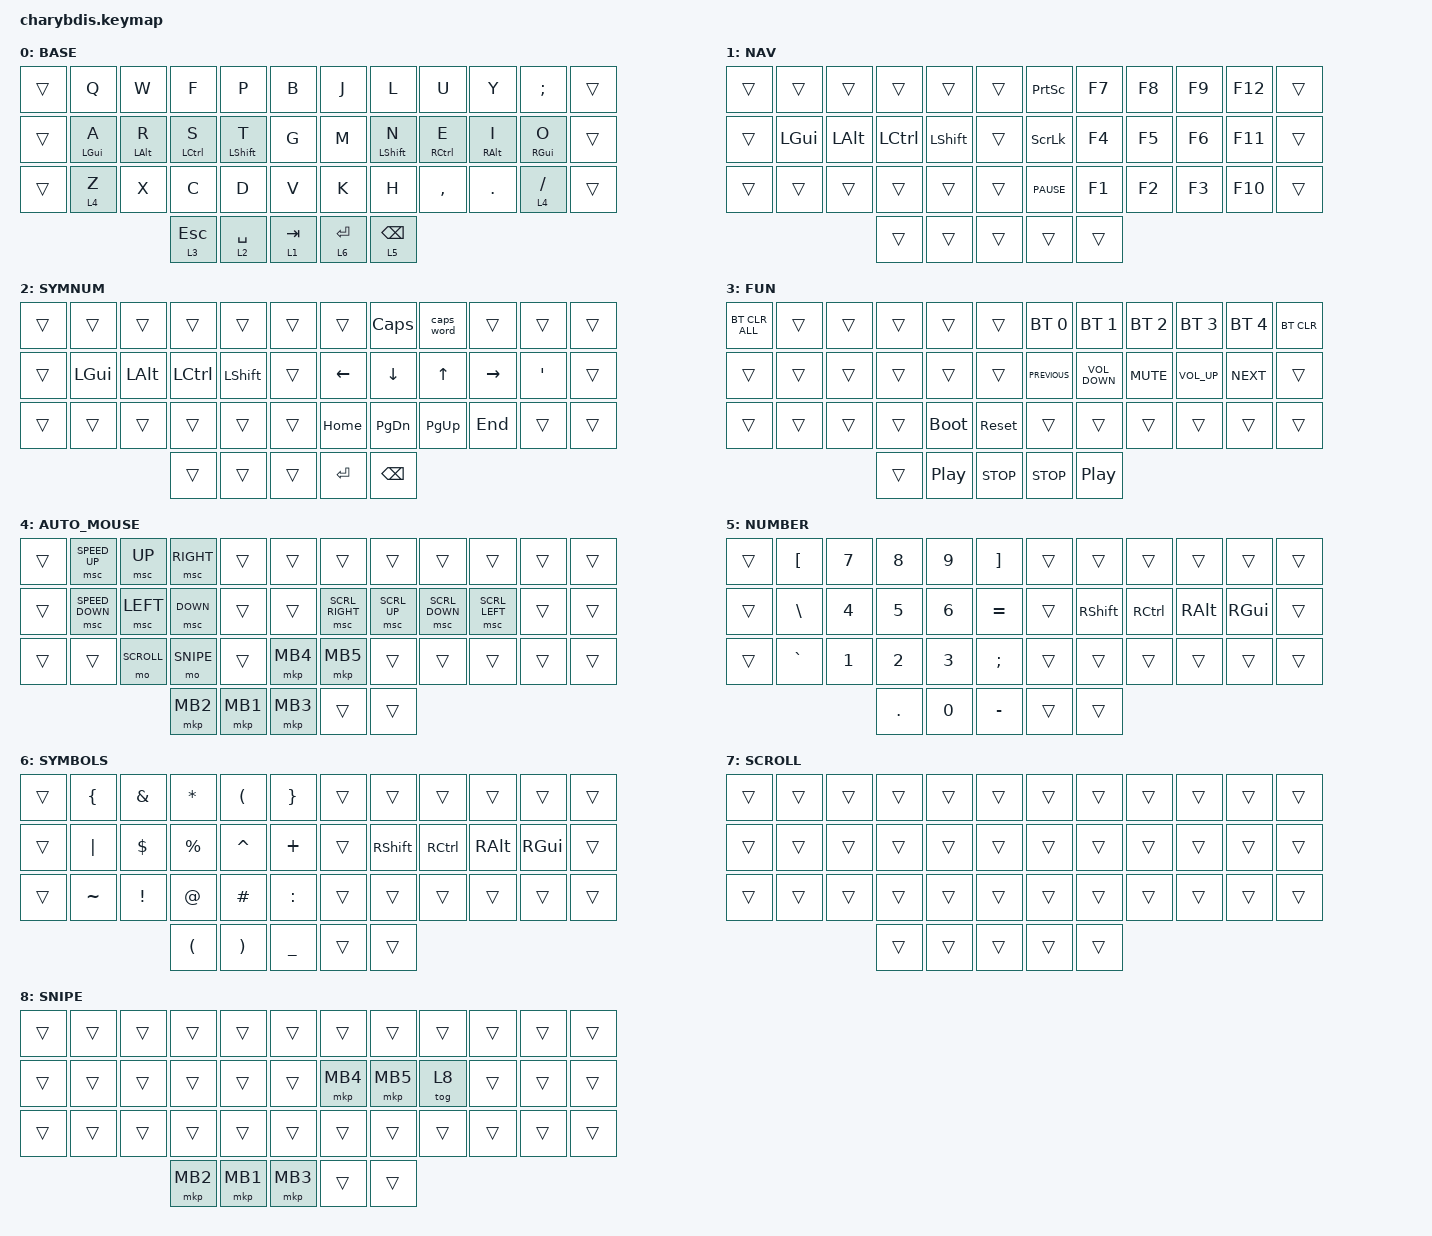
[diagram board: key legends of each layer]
#include <behaviors/mouse_keys.dtsi>
#include <behaviors.dtsi>
#include <dt-bindings/zmk/bt.h>
#include <dt-bindings/zmk/keys.h>
#include <dt-bindings/zmk/pointing.h>


#define U_TAPPING_TERM 175

#define BASE 0
#define NAV 1
#define SYMNUM 2
#define FUN 3
#define AUTO_MOUSE 4
#define NUMBER 5
#define SYMBOLS 6
#define SCROLL 7
#define SNIPE 8

/ {
    chosen { zmk,matrix_transform = &default_transform; };
};

/ {
    combos {
        compatible = "zmk,combos";

        LeftClickRight {
            bindings = <&mkp LCLK>;
            key-positions = <19 20>;
        };

        RightClickRight {
            bindings = <&mkp RCLK>;
            key-positions = <20 21>;
        };

        MiddleClickRight {
            bindings = <&mkp MCLK>;
            key-positions = <21 22>;
        };

        CapsWord {
            bindings = <&caps_word>;
            key-positions = <17 18>;
        };

        CAPS_LOCK {
            bindings = <&kp CAPSLOCK>;
            key-positions = <5 6>;
        };
    };

    behaviors {
        u_mt: u_mt {
            compatible = "zmk,behavior-hold-tap";
            label = "u_mt";
            #binding-cells = <2>;
            tapping_term_ms = <U_TAPPING_TERM>;
            flavor = "tap-preferred";
            bindings = <&kp>, <&kp>;
        };

        u_lt: u_lt {
            compatible = "zmk,behavior-hold-tap";
            label = "u_lt";
            #binding-cells = <2>;
            tapping_term_ms = <U_TAPPING_TERM>;
            flavor = "tap-preferred";
            bindings = <&mo>, <&kp>;

            quick_tap_ms = <U_TAPPING_TERM>;
        };
    };



    keymap {
        compatible = "zmk,keymap";

        BASE {
            bindings = <
&trans  &kp Q             &kp W             &kp F          &kp P               &kp B          &kp J        &kp L               &kp U          &kp Y              &kp SEMI           &trans
&trans  &u_mt LEFT_GUI A  &u_mt LEFT_ALT R  &u_mt LCTRL S  &u_mt LEFT_SHIFT T  &kp G          &kp M        &u_mt LEFT_SHIFT N  &u_mt RCTRL E  &u_mt RIGHT_ALT I  &u_mt RIGHT_GUI O  &trans
&trans  &u_lt 4 Z         &kp X             &kp C          &kp D               &kp V          &kp K        &kp H               &kp COMMA      &kp DOT            &u_lt 4 FSLH       &trans
                                            &u_lt 3 ESC    &u_lt 2 SPACE       &u_lt 1 TAB    &u_lt 6 RET  &u_lt 5 BSPC
            >;
        };

        NAV {
            bindings = <
&trans  &trans        &trans        &trans     &trans          &trans    &kp PRINTSCREEN  &kp F7  &kp F8  &kp F9  &kp F12  &trans
&trans  &kp LEFT_GUI  &kp LEFT_ALT  &kp LCTRL  &kp LEFT_SHIFT  &trans    &kp SCROLLLOCK   &kp F4  &kp F5  &kp F6  &kp F11  &trans
&trans  &trans        &trans        &trans     &trans          &trans    &kp C_PAUSE      &kp F1  &kp F2  &kp F3  &kp F10  &trans
                                    &trans     &trans          &trans    &trans           &trans
            >;
        };

        SYMNUM {
            bindings = <
&trans  &trans        &trans        &trans     &trans          &trans    &trans          &kp CAPS        &caps_word    &trans     &trans    &trans
&trans  &kp LEFT_GUI  &kp LEFT_ALT  &kp LCTRL  &kp LEFT_SHIFT  &trans    &kp LEFT_ARROW  &kp DOWN_ARROW  &kp UP_ARROW  &kp RIGHT  &kp APOS  &trans
&trans  &trans        &trans        &trans     &trans          &trans    &kp HOME        &kp PAGE_DOWN   &kp PAGE_UP   &kp END    &trans    &trans
                                    &trans     &trans          &trans    &kp ENTER       &kp BACKSPACE
            >;
        };

        FUN {
            bindings = <
&bt BT_CLR_ALL  &trans  &trans  &trans  &trans            &trans        &bt BT_SEL 0    &bt BT_SEL 1       &bt BT_SEL 2  &bt BT_SEL 3     &bt BT_SEL 4  &bt BT_CLR
&trans          &trans  &trans  &trans  &trans            &trans        &kp C_PREVIOUS  &kp C_VOLUME_DOWN  &kp K_MUTE    &kp C_VOLUME_UP  &kp C_NEXT    &trans
&trans          &trans  &trans  &trans  &bootloader       &sys_reset    &trans          &trans             &trans        &trans           &trans        &trans
                                &trans  &kp C_PLAY_PAUSE  &kp C_STOP    &kp C_STOP      &kp C_PLAY_PAUSE
            >;
        };

        AUTO_MOUSE {
            bindings = <
&trans  &msc SPEED_UP  &msc UP      &msc RIGHT       &trans    &trans      &trans           &trans        &trans          &trans          &trans  &trans
&trans  &msc SPEED_DOWN  &msc LEFT  &msc DOWN     &trans    &trans      &msc SCRL_RIGHT  &msc SCRL_UP  &msc SCRL_DOWN  &msc SCRL_LEFT  &trans  &trans
&trans  &trans  &mo SCROLL  &mo SNIPE    &trans    &mkp MB4    &mkp MB5         &trans        &trans          &trans          &trans  &trans
                        &mkp MB2  &mkp MB1  &mkp MB3    &trans           &trans
            >;
        };

        NUMBER {
            bindings = <
&trans  &kp LEFT_BRACKET  &kp N7  &kp N8   &kp N9  &kp RIGHT_BRACKET    &trans  &trans     &trans     &trans         &trans         &trans
&trans  &kp BACKSLASH     &kp N4  &kp N5   &kp N6  &kp EQUAL            &trans  &kp RSHFT  &kp RCTRL  &kp RIGHT_ALT  &kp RIGHT_GUI  &trans
&trans  &kp GRAVE         &kp N1  &kp N2   &kp N3  &kp SEMICOLON        &trans  &trans     &trans     &trans         &trans         &trans
                                  &kp DOT  &kp N0  &kp MINUS            &trans  &trans
            >;
        };

        SYMBOLS {
            bindings = <
&trans  &kp LEFT_BRACE  &kp AMPERSAND  &kp ASTERISK          &kp LEFT_PARENTHESIS   &kp RIGHT_BRACE    &trans  &trans     &trans     &trans    &trans    &trans
&trans  &kp PIPE        &kp DOLLAR     &kp PERCENT           &kp CARET              &kp PLUS           &trans  &kp RSHFT  &kp RCTRL  &kp RALT  &kp RGUI  &trans
&trans  &kp TILDE       &kp EXCL       &kp AT                &kp HASH               &kp COLON          &trans  &trans     &trans     &trans    &trans    &trans
                                       &kp LEFT_PARENTHESIS  &kp RIGHT_PARENTHESIS  &kp UNDERSCORE     &trans  &trans
            >;
        };

        SCROLL {
            bindings = <
&trans  &trans  &trans  &trans  &trans  &trans  &trans  &trans  &trans  &trans  &trans  &trans
&trans  &trans  &trans  &trans  &trans  &trans  &trans  &trans  &trans  &trans  &trans  &trans
&trans  &trans  &trans  &trans  &trans  &trans  &trans  &trans  &trans  &trans  &trans  &trans
                        &trans  &trans  &trans  &trans  &trans
            >;
        };

        SNIPE {
            bindings = <
&trans  &trans  &trans  &trans  &trans  &trans  &trans  &trans  &trans  &trans  &trans  &trans
&trans  &trans  &trans  &trans  &trans  &trans  &mkp MB4  &mkp MB5  &tog 8  &trans  &trans  &trans
&trans  &trans  &trans  &trans  &trans  &trans  &trans  &trans  &trans  &trans  &trans  &trans
                        &mkp MB2  &mkp MB1  &mkp MB3  &trans  &trans
            >;
        };
    };
};
